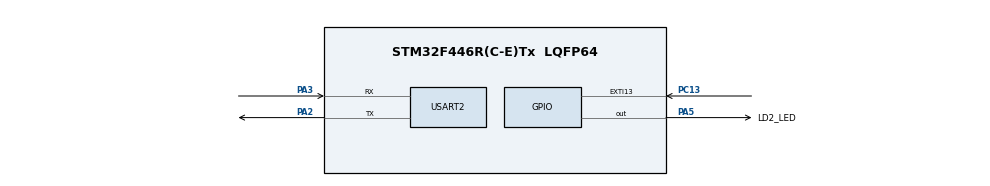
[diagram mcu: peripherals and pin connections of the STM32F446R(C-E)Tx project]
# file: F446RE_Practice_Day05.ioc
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FREERTOS.Queues01=buttonQueue,8,uint8_t,0,Dynamic,NULL,NULL
FREERTOS.Tasks01=defaultTask,24,128,StartDefaultTask,Default,NULL,Dynamic,NULL,NULL;ButtonTask,24,128,StartButtonTask,Default,NULL,Dynamic,NULL,NULL
FREERTOS.configUSE_NEWLIB_REENTRANT=1
Mcu.Family=STM32F4
Mcu.Name=STM32F446R(C-E)Tx
Mcu.Package=LQFP64
NVIC.EXTI15_10_IRQn=true\:5\:0\:true\:false\:true\:false\:true\:true\:true
NVIC.PriorityGroup=NVIC_PRIORITYGROUP_4
NVIC.TIM6_DAC_IRQn=true\:15\:0\:false\:false\:true\:false\:false\:true\:true
NVIC.TimeBase=TIM6_DAC_IRQn
NVIC.TimeBaseIP=TIM6
PA13.Mode=Serial_Wire
PA13.Signal=SYS_JTMS-SWDIO
PA14.Mode=Serial_Wire
PA14.Signal=SYS_JTCK-SWCLK
PA2.Mode=Asynchronous
PA2.Signal=USART2_TX
PA3.Mode=Asynchronous
PA3.Signal=USART2_RX
PA5.GPIO_Label=LD2_LED
PA5.Signal=GPIO_Output
PC13.GPIO_ModeDefaultEXTI=GPIO_MODE_IT_FALLING
PC13.Signal=GPXTI13
ProjectManager.HeapSize=0x200
ProjectManager.StackSize=0x400
ProjectManager.TargetToolchain=STM32CubeIDE
RCC.CortexFreq_Value=16000000
RCC.USBFreq_Value=96000000
RCC.VCOOutputFreq_Value=192000000
USART2.VirtualMode=VM_ASYNC
VP_FREERTOS_VS_CMSIS_V2.Mode=CMSIS_V2
VP_SYS_VS_tim6.Mode=TIM6
board=custom

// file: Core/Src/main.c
/* USER CODE BEGIN Header */
/**
  ******************************************************************************
  * @file           : main.c
  * @brief          : Main program body
  ******************************************************************************
  * @attention
  *
  * Copyright (c) 2026 STMicroelectronics.
  * All rights reserved.
  *
  * This software is licensed under terms that can be found in the LICENSE file
  * in the root directory of this software component.
  * If no LICENSE file comes with this software, it is provided AS-IS.
  *
  ******************************************************************************
  */
/* USER CODE END Header */
#include "main.h"
#include "cmsis_os.h"

/* USER CODE BEGIN Includes */

#include "cmsis_os2.h"

/* USER CODE END Includes */

UART_HandleTypeDef huart2;

/* Definitions for defaultTask */
osThreadId_t defaultTaskHandle;
const osThreadAttr_t defaultTask_attributes = {
  .name = "defaultTask",
  .stack_size = 128 * 4,
  .priority = (osPriority_t) osPriorityNormal,
};
/* Definitions for ButtonTask */
osThreadId_t ButtonTaskHandle;
const osThreadAttr_t ButtonTask_attributes = {
  .name = "ButtonTask",
  .stack_size = 128 * 4,
  .priority = (osPriority_t) osPriorityNormal,
};
/* Definitions for buttonQueue */
osMessageQueueId_t buttonQueueHandle;
const osMessageQueueAttr_t buttonQueue_attributes = {
  .name = "buttonQueue"
};
/* USER CODE BEGIN PV */

volatile uint32_t button_press_count = 0;
volatile uint32_t queue_drop_count = 0;

/* USER CODE END PV */

void SystemClock_Config(void);
static void MX_GPIO_Init(void);
static void MX_USART2_UART_Init(void);
void StartDefaultTask(void *argument);
void StartButtonTask(void *argument);

int main(void)
{

  /* MCU Configuration--------------------------------------------------------*/

  /* Reset of all peripherals, Initializes the Flash interface and the Systick. */
  HAL_Init();

  /* Configure the system clock */
  SystemClock_Config();

  /* Initialize all configured peripherals */
  MX_GPIO_Init();
  MX_USART2_UART_Init();

  /* Init scheduler */
  osKernelInitialize();

  /* Create the queue(s) */
  /* creation of buttonQueue */
  buttonQueueHandle = osMessageQueueNew (8, sizeof(uint8_t), &buttonQueue_attributes);

  /* Create the thread(s) */
  /* creation of defaultTask */
  defaultTaskHandle = osThreadNew(StartDefaultTask, NULL, &defaultTask_attributes);

  /* creation of ButtonTask */
  ButtonTaskHandle = osThreadNew(StartButtonTask, NULL, &ButtonTask_attributes);

  /* Start scheduler */
  osKernelStart();

  /* We should never get here as control is now taken by the scheduler */

  /* Infinite loop */
  while (1)
  {

  }
}

void SystemClock_Config(void)
{
  RCC_OscInitTypeDef RCC_OscInitStruct = {0};
  RCC_ClkInitTypeDef RCC_ClkInitStruct = {0};

  /** Configure the main internal regulator output voltage
  */
  __HAL_RCC_PWR_CLK_ENABLE();
  __HAL_PWR_VOLTAGESCALING_CONFIG(PWR_REGULATOR_VOLTAGE_SCALE3);

  /** Initializes the RCC Oscillators according to the specified parameters
  * in the RCC_OscInitTypeDef structure.
  */
  RCC_OscInitStruct.OscillatorType = RCC_OSCILLATORTYPE_HSI;
  RCC_OscInitStruct.HSIState = RCC_HSI_ON;
  RCC_OscInitStruct.HSICalibrationValue = RCC_HSICALIBRATION_DEFAULT;
  RCC_OscInitStruct.PLL.PLLState = RCC_PLL_NONE;
  if (HAL_RCC_OscConfig(&RCC_OscInitStruct) != HAL_OK)
  {
    Error_Handler();
  }

  /** Initializes the CPU, AHB and APB buses clocks
  */
  RCC_ClkInitStruct.ClockType = RCC_CLOCKTYPE_HCLK|RCC_CLOCKTYPE_SYSCLK
                              |RCC_CLOCKTYPE_PCLK1|RCC_CLOCKTYPE_PCLK2;
  RCC_ClkInitStruct.SYSCLKSource = RCC_SYSCLKSOURCE_HSI;
  RCC_ClkInitStruct.AHBCLKDivider = RCC_SYSCLK_DIV1;
  RCC_ClkInitStruct.APB1CLKDivider = RCC_HCLK_DIV1;
  RCC_ClkInitStruct.APB2CLKDivider = RCC_HCLK_DIV1;

  if (HAL_RCC_ClockConfig(&RCC_ClkInitStruct, FLASH_LATENCY_0) != HAL_OK)
  {
    Error_Handler();
  }
}

static void MX_USART2_UART_Init(void)
{

  huart2.Instance = USART2;
  huart2.Init.BaudRate = 115200;
  huart2.Init.WordLength = UART_WORDLENGTH_8B;
  huart2.Init.StopBits = UART_STOPBITS_1;
  huart2.Init.Parity = UART_PARITY_NONE;
  huart2.Init.Mode = UART_MODE_TX_RX;
  huart2.Init.HwFlowCtl = UART_HWCONTROL_NONE;
  huart2.Init.OverSampling = UART_OVERSAMPLING_16;
  if (HAL_UART_Init(&huart2) != HAL_OK)
  {
    Error_Handler();
  }

}

static void MX_GPIO_Init(void)
{
  GPIO_InitTypeDef GPIO_InitStruct = {0};

  /* GPIO Ports Clock Enable */
  __HAL_RCC_GPIOC_CLK_ENABLE();
  __HAL_RCC_GPIOA_CLK_ENABLE();

  /*Configure GPIO pin Output Level */
  HAL_GPIO_WritePin(LD2_LED_GPIO_Port, LD2_LED_Pin, GPIO_PIN_RESET);

  /*Configure GPIO pin : PC13 */
  GPIO_InitStruct.Pin = GPIO_PIN_13;
  GPIO_InitStruct.Mode = GPIO_MODE_IT_FALLING;
  GPIO_InitStruct.Pull = GPIO_NOPULL;
  HAL_GPIO_Init(GPIOC, &GPIO_InitStruct);

  /*Configure GPIO pin : LD2_LED_Pin */
  GPIO_InitStruct.Pin = LD2_LED_Pin;
  GPIO_InitStruct.Mode = GPIO_MODE_OUTPUT_PP;
  GPIO_InitStruct.Pull = GPIO_NOPULL;
  GPIO_InitStruct.Speed = GPIO_SPEED_FREQ_LOW;
  HAL_GPIO_Init(LD2_LED_GPIO_Port, &GPIO_InitStruct);

  /* EXTI interrupt init*/
  HAL_NVIC_SetPriority(EXTI15_10_IRQn, 5, 0);
  HAL_NVIC_EnableIRQ(EXTI15_10_IRQn);

}

/* USER CODE BEGIN 4 */

void HAL_GPIO_EXTI_Callback(uint16_t GPIO_Pin)
{
    if (GPIO_Pin == GPIO_PIN_13)
    {
        uint8_t event = 1U;

        /*
         * ISR 中 timeout 必須設為 0，
         * 因為 ISR 不能等待 Queue 空間。
         */
        osStatus_t status = osMessageQueuePut(
            buttonQueueHandle,
            &event,
            0U,
            0U);

        if (status != osOK)
        {
            /*
             * Queue 已滿時記錄遺失事件。
             * ISR 中不要 printf。
             */
            queue_drop_count++;
        }
    }
}

/* USER CODE END 4 */

void StartDefaultTask(void *argument)
{
  for(;;)
  {
    osDelay(1);
  }
}

void StartButtonTask(void *argument)
{
  /* USER CODE BEGIN StartButtonTask */

	uint8_t event;
	uint32_t last_press_tick = 0U;

	const uint32_t debounce_ticks =
		(osKernelGetTickFreq() * 200U) / 1000U;

  /* Infinite loop */
	for (;;)
	{
		/*
		 * 沒有事件時，Task 會進入 Blocked 狀態，
		 * 不會持續占用 CPU。
		 */
		if (osMessageQueueGet(
				buttonQueueHandle,
				&event,
				NULL,
				osWaitForever) == osOK)
		{
			uint32_t now = osKernelGetTickCount();

			/*
			 * 約 200 ms 軟體防彈跳。
			 * 使用差值運算可處理 Tick 回繞。
			 */
			if ((uint32_t)(now - last_press_tick) >=
				debounce_ticks)
			{
				last_press_tick = now;
				button_press_count++;

				HAL_GPIO_TogglePin(
					GPIOA,
					GPIO_PIN_5);
			}
		}
	}
  /* USER CODE END StartButtonTask */
}

void HAL_TIM_PeriodElapsedCallback(TIM_HandleTypeDef *htim)
{
  if (htim->Instance == TIM6)
  {
    HAL_IncTick();
  }
}

void Error_Handler(void)
{
  __disable_irq();
  while (1)
  {
  }
}
